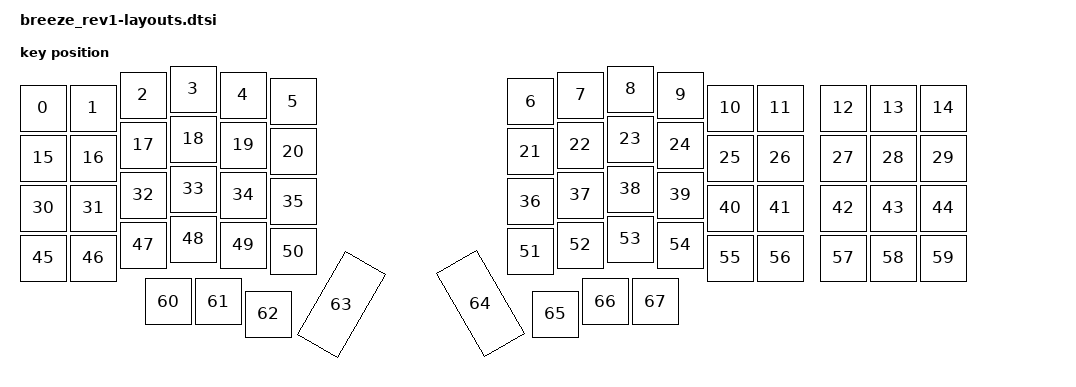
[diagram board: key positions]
/*
 * Copyright (c) 2022 The ZMK Contributors
 *
 * SPDX-License-Identifier: MIT
 */

#include <physical_layouts.dtsi>

/ {
	physical_layout0: physical_layout_0 {
		compatible = "zmk,physical-layout";
		display-name = "Default Layout";
		transform = <&default_transform>;
		keys  //                     w   h    x    y    rot    rx    ry
			= <&key_physical_attrs 100 100    0   38      0     0     0>  // Esc
			, <&key_physical_attrs 100 100  100   38      0     0     0>  // 1
			, <&key_physical_attrs 100 100  200   12      0     0     0>  // 2
			, <&key_physical_attrs 100 100  300    0      0     0     0>  // 3
			, <&key_physical_attrs 100 100  400   12      0     0     0>  // 4
			, <&key_physical_attrs 100 100  500   25      0     0     0>  // 5
			, <&key_physical_attrs 100 100  975   25      0     0     0>  // 6
			, <&key_physical_attrs 100 100 1075   12      0     0     0>  // 7
			, <&key_physical_attrs 100 100 1175    0      0     0     0>  // 8
			, <&key_physical_attrs 100 100 1275   12      0     0     0>  // 9
			, <&key_physical_attrs 100 100 1375   38      0     0     0>  // 0
			, <&key_physical_attrs 100 100 1475   38      0     0     0>  // Bksp
			, <&key_physical_attrs 100 100 1600   38      0     0     0>  // -
			, <&key_physical_attrs 100 100 1700   38      0     0     0>  // =
			, <&key_physical_attrs 100 100 1800   38      0     0     0>  // `

			, <&key_physical_attrs 100 100    0  138      0     0     0>  // Tab
			, <&key_physical_attrs 100 100  100  138      0     0     0>  // Q
			, <&key_physical_attrs 100 100  200  112      0     0     0>  // W
			, <&key_physical_attrs 100 100  300  100      0     0     0>  // E
			, <&key_physical_attrs 100 100  400  112      0     0     0>  // R
			, <&key_physical_attrs 100 100  500  125      0     0     0>  // T
			, <&key_physical_attrs 100 100  975  125      0     0     0>  // Y
			, <&key_physical_attrs 100 100 1075  112      0     0     0>  // U
			, <&key_physical_attrs 100 100 1175  100      0     0     0>  // I
			, <&key_physical_attrs 100 100 1275  112      0     0     0>  // O
			, <&key_physical_attrs 100 100 1375  138      0     0     0>  // P
			, <&key_physical_attrs 100 100 1475  138      0     0     0>  // Del
			, <&key_physical_attrs 100 100 1600  138      0     0     0>  // [
			, <&key_physical_attrs 100 100 1700  138      0     0     0>  // ]
			, <&key_physical_attrs 100 100 1800  138      0     0     0>  // End

			, <&key_physical_attrs 100 100    0  238      0     0     0>  // LCtrl
			, <&key_physical_attrs 100 100  100  238      0     0     0>  // A
			, <&key_physical_attrs 100 100  200  212      0     0     0>  // S
			, <&key_physical_attrs 100 100  300  200      0     0     0>  // D
			, <&key_physical_attrs 100 100  400  212      0     0     0>  // F
			, <&key_physical_attrs 100 100  500  225      0     0     0>  // G
			, <&key_physical_attrs 100 100  975  225      0     0     0>  // H
			, <&key_physical_attrs 100 100 1075  212      0     0     0>  // J
			, <&key_physical_attrs 100 100 1175  200      0     0     0>  // K
			, <&key_physical_attrs 100 100 1275  212      0     0     0>  // L
			, <&key_physical_attrs 100 100 1375  238      0     0     0>  // ;
			, <&key_physical_attrs 100 100 1475  238      0     0     0>  // '
			, <&key_physical_attrs 100 100 1600  238      0     0     0>  // Up
			, <&key_physical_attrs 100 100 1700  238      0     0     0>  // Up
			, <&key_physical_attrs 100 100 1800  238      0     0     0>  // Up

			, <&key_physical_attrs 100 100    0  338      0     0     0>  // LShift
			, <&key_physical_attrs 100 100  100  338      0     0     0>  // Z
			, <&key_physical_attrs 100 100  200  312      0     0     0>  // X
			, <&key_physical_attrs 100 100  300  300      0     0     0>  // C
			, <&key_physical_attrs 100 100  400  312      0     0     0>  // V
			, <&key_physical_attrs 100 100  500  325      0     0     0>  // B
			, <&key_physical_attrs 100 100  975  325      0     0     0>  // N
			, <&key_physical_attrs 100 100 1075  312      0     0     0>  // M
			, <&key_physical_attrs 100 100 1175  300      0     0     0>  // ,
			, <&key_physical_attrs 100 100 1275  312      0     0     0>  // .
			, <&key_physical_attrs 100 100 1375  338      0     0     0>  // /
			, <&key_physical_attrs 100 100 1475  338      0     0     0>  // RShift
			, <&key_physical_attrs 100 100 1600  338      0     0     0>  // Left
			, <&key_physical_attrs 100 100 1700  338      0     0     0>  // Down
			, <&key_physical_attrs 100 100 1800  338      0     0     0>  // Right

			, <&key_physical_attrs 100 100  250  425      0     0     0>  // LWIN
			, <&key_physical_attrs 100 100  350  425      0     0     0>  // LALT
			, <&key_physical_attrs 100 100  450  450      0     0     0>  // mo2
			, <&key_physical_attrs 100 200  625  375   3000   650   425>  // Enter
			, <&key_physical_attrs 100 200  900  225  (-3000)  1225   450>  // Space
			, <&key_physical_attrs 100 100 1025  450      0     0     0>  // mo1
			, <&key_physical_attrs 100 100 1125  425      0     0     0>  // RALT
			, <&key_physical_attrs 100 100 1225  425      0     0     0>  // RWIN
			;
	};
};
